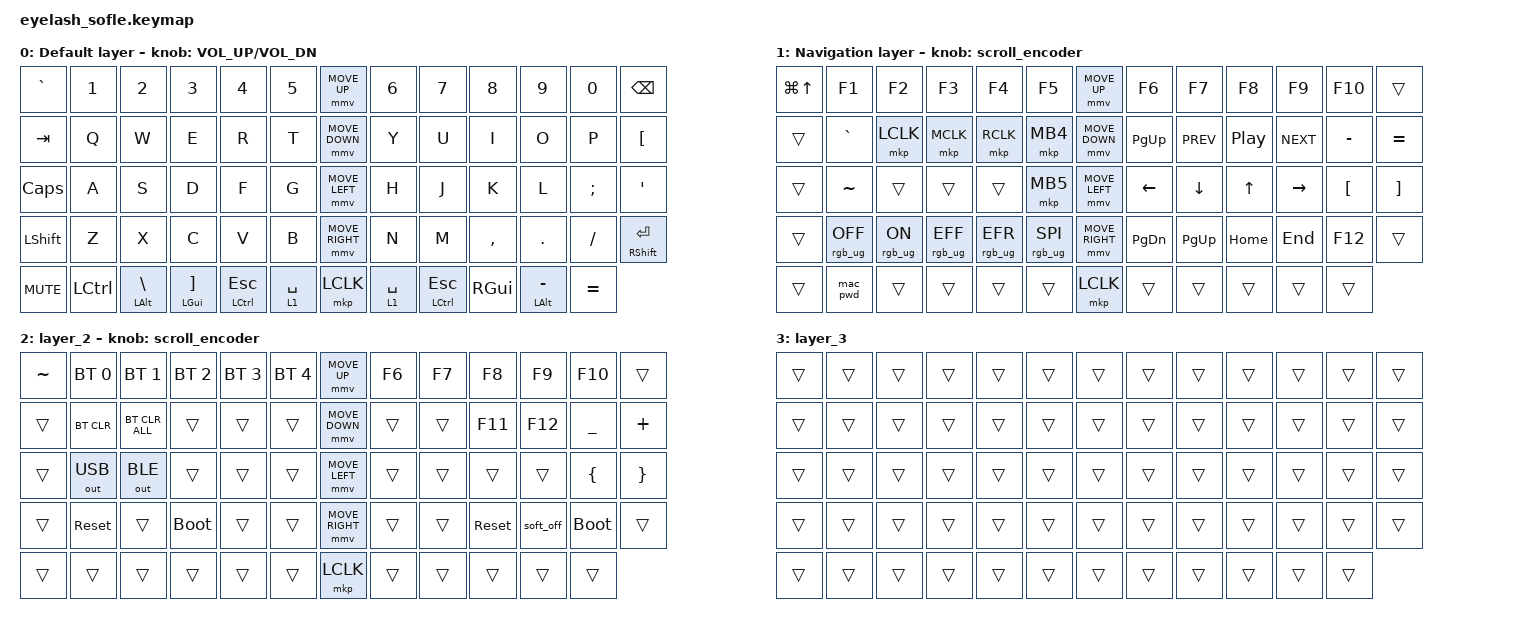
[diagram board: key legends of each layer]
#define ZMK_POINTING_DEFAULT_MOVE_VAL 1200  // 600
#define ZMK_POINTING_DEFAULT_SCRL_VAL 25   // 10


#include <input/processors.dtsi>
#include <zephyr/dt-bindings/input/input-event-codes.h>
#include <behaviors.dtsi>
#include <dt-bindings/zmk/bt.h>
#include <dt-bindings/zmk/ext_power.h>
#include <dt-bindings/zmk/keys.h>
#include <dt-bindings/zmk/pointing.h>
#include <dt-bindings/zmk/rgb.h>
#include <dt-bindings/zmk/outputs.h>

#define LALT_PIPE &mt LALT BSLH
#define LALT_MINUS &mt LALT MINUS
#define LGUI_RBRA &mt LGUI RBKT
#define LCTR_ESC  &mt LCTRL ESC
#define L1_SPC    &lt 1 SPACE
#define RSHIFT_ENT &mt RSHIFT ENTER

&mmv_input_listener { input-processors = <&zip_xy_scaler 2 1>; };

&msc_input_listener { input-processors = <&zip_scroll_scaler 2 1>; };

&msc {
    acceleration-exponent = <1>;      // 0
    time-to-max-speed-ms = <100>;       // 300
    delay-ms = <0>;                   // 0
};

&mmv {
    time-to-max-speed-ms = <500>;
    acceleration-exponent = <1>;
    trigger-period-ms = <16>;
};


/ {

    scroll_encoder: scroll_encoder {
        compatible = "zmk,behavior-sensor-rotate";
        #sensor-binding-cells = <0>;
        bindings = <&msc SCRL_DOWN>, <&msc SCRL_UP>;
        tap-ms = <100>;
    };

    behaviors {
        slb_pwd: macro {
            compatible = "zmk,behavior-macro";
            label = "SLB_PASSWORD_MACRO";
            #binding-cells = <0>;
            bindings = <
&kp LS(O) &kp G &kp I &kp R &kp N3 &kp N1 &kp N4 &kp MINUS &kp MINUS &kp MINUS &kp ENTER
            >;
        };

        mac_pwd: macro2 {
            compatible = "zmk,behavior-macro";
            label = "PASSWORD_MACRO";
            #binding-cells = <0>;
            bindings = <
// &kp LS(O) &kp G &kp I &kp R &kp N3 &kp N1 &kp N4 &kp MINUS &kp ENTER
&kp LS(O) &kp G &kp I &kp R &kp N3 &kp N1 &kp N4  &kp N1 &kp N5 &kp N9 &kp N2 &kp N6 &kp MINUS &kp MINUS &kp MINUS &kp ENTER
            >;
        };
    };

    keymap {
        compatible = "zmk,keymap";

        layer0 {
            bindings = <
&kp GRAVE   &kp N1     &kp N2        &kp N3        &kp N4   &kp N5       &mmv MOVE_UP                &kp N6     &kp N7     &kp N8     &kp N9           &kp N0      &kp BACKSPACE
&kp TAB     &kp Q      &kp W         &kp E         &kp R    &kp T        &mmv MOVE_DOWN              &kp Y      &kp U      &kp I      &kp O            &kp P       &kp LBKT
&kp CAPS    &kp A      &kp S         &kp D         &kp F    &kp G        &mmv MOVE_LEFT              &kp H      &kp J      &kp K      &kp L            &kp SEMI    &kp APOS
&kp LSHFT   &kp Z      &kp X         &kp C         &kp V    &kp B        &mmv MOVE_RIGHT             &kp N      &kp M      &kp COMMA  &kp DOT          &kp FSLH    RSHIFT_ENT
&kp C_MUTE  &kp LCTRL  LALT_PIPE     LGUI_RBRA     LCTR_ESC L1_SPC       &mkp LCLK        L1_SPC     LCTR_ESC   &kp RGUI   LALT_MINUS &kp EQUAL
            >;

            sensor-bindings = <&inc_dec_kp C_VOLUME_UP C_VOL_DN>;
            display-name = "Default layer";
        };

        layer_1 {
            bindings = <
&kp LG(UP)  &kp F1          &kp F2          &kp F3          &kp F4           &kp F5          &mmv MOVE_UP             &kp F6    &kp F7     &kp F8     &kp F9     &kp F10           &trans
&trans      &kp GRAVE       &mkp LCLK       &mkp MCLK       &mkp RCLK        &mkp MB4        &mmv MOVE_DOWN           &kp PG_UP &kp C_PREV &kp C_PP   &kp C_NEXT &kp MINUS         &kp EQUAL
&trans      &kp TILDE       &trans          &trans          &trans           &mkp MB5        &mmv MOVE_LEFT           &kp LEFT  &kp DOWN   &kp UP     &kp RIGHT  &kp LEFT_BRACKET  &kp RIGHT_BRACKET
&trans      &rgb_ug RGB_OFF &rgb_ug RGB_ON  &rgb_ug RGB_EFF &rgb_ug RGB_EFR  &rgb_ug RGB_SPI &mmv MOVE_RIGHT          &kp PG_DN &kp PG_UP  &kp HOME   &kp END    &kp F12           &trans
&trans     &mac_pwd        &trans          &trans          &trans           &trans          &mkp LCLK        &trans  &trans    &trans     &trans     &trans
            >;

            display-name = "Navigation layer";
            sensor-bindings = <&scroll_encoder>;
        };

        layer_2 {
            bindings = <
&kp TILDE  &bt BT_SEL 0  &bt BT_SEL 1    &bt BT_SEL 2  &bt BT_SEL 3  &bt BT_SEL 4    &mmv MOVE_UP     &kp F6  &kp F7  &kp F8      &kp F9     &kp F10      &trans
&trans     &bt BT_CLR    &bt BT_CLR_ALL  &trans        &trans        &trans          &mmv MOVE_DOWN   &trans  &trans  &kp F11     &kp F12    &kp UNDER    &kp PLUS
&trans     &out OUT_USB  &out OUT_BLE    &trans        &trans        &trans          &mmv MOVE_LEFT   &trans  &trans  &trans      &trans     &kp LBRC     &kp RBRC
&trans     &sys_reset    &trans          &bootloader   &trans        &trans          &mmv MOVE_RIGHT  &trans  &trans  &sys_reset  &soft_off  &bootloader  &trans
&trans     &trans        &trans          &trans        &trans        &trans          &mkp LCLK        &trans  &trans  &trans      &trans     &trans
            >;

            sensor-bindings = <&scroll_encoder>;
        };

        layer_3 {
            bindings = <
&trans  &trans  &trans  &trans  &trans  &trans    &trans  &trans  &trans  &trans  &trans  &trans  &trans
&trans  &trans  &trans  &trans  &trans  &trans    &trans  &trans  &trans  &trans  &trans  &trans  &trans
&trans  &trans  &trans  &trans  &trans  &trans    &trans  &trans  &trans  &trans  &trans  &trans  &trans
&trans  &trans  &trans  &trans  &trans  &trans    &trans  &trans  &trans  &trans  &trans  &trans  &trans
&trans  &trans  &trans  &trans  &trans  &trans    &trans  &trans  &trans  &trans  &trans  &trans
            >;
        };
    };
};
